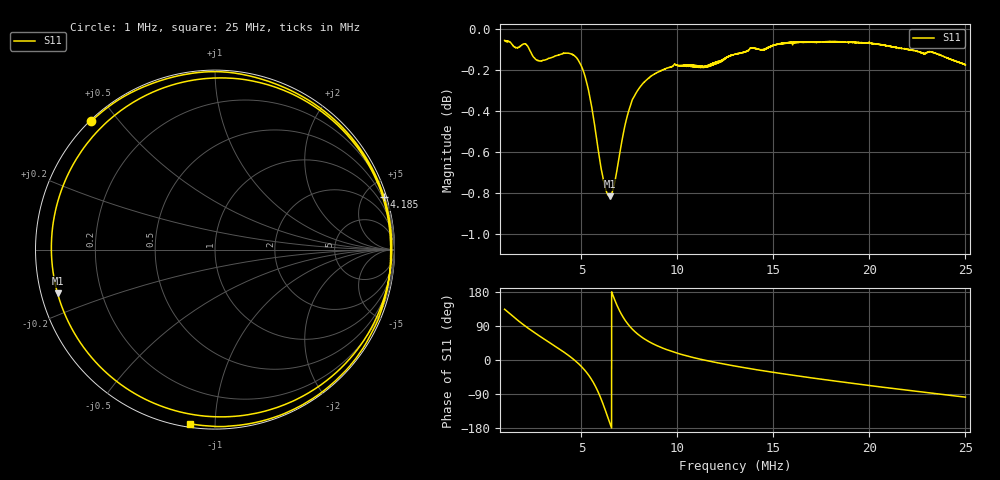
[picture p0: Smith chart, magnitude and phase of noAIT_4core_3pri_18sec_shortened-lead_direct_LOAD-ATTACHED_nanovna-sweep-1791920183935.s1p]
! NanoVNA Web complex sweep
! Processing: unaveraged complex samples; linear segment spacing; no smoothing
# Hz S RI R 50
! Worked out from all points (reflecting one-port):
!   5050 points, 1 MHz to 25 MHz, reference 50 ohm
!   lowest |S11| = -0.8 dB at 6.466 MHz (marker M1), VSWR 21.33, Z = 2.39 - j6.77 ohm
!   phase of S11 starts at 134 deg and turns -592 deg over the sweep
!   S11 on the Smith chart (normalised r, x): 1 MHz: 0.00, +0.43; 4.185 MHz: 0.30, +6.54; 25 MHz: 0.02, -0.87
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1000000  -0.6885 0.716
1665420  -0.2644 0.9533
2297569  0.1488 0.9769
3129344  0.5933 0.7833
4003896  0.9026 0.3968
4184510  0.9413 0.2942
4726352  0.9815 -0.0699
5158875  0.876 -0.4274
5505844  0.6207 -0.7308
5829048  0.168 -0.9223
5990650  -0.1352 -0.9169
6137993  -0.4254 -0.8144
6313854  -0.7231 -0.5566
6465950  -0.8775 -0.2426
6698847  -0.8768 0.2646
7003039  -0.5792 0.7313
7212171  -0.3197 0.8888
7459327  -0.0396 0.9539
7806296  0.2677 0.9258
8196042  0.5075 0.8262
8970781  0.7791 0.5875
1.000218e7  0.9324 0.3001
1.123321e7  0.9781 0.0287
1.300132e7  0.9475 -0.2717
1.600047e7  0.7581 -0.6381
1.899961e7  0.4839 -0.8662
2.199875e7  0.1716 -0.9734
2.49979e7  -0.1367 -0.9703
